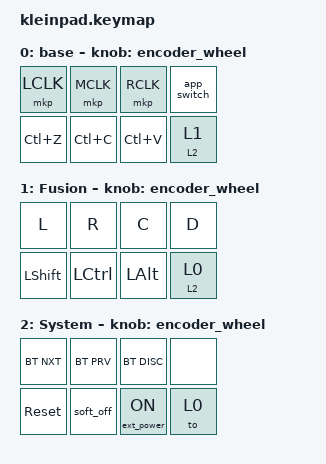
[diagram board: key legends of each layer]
#define ZMK_POINTING_DEFAULT_MOVE_VAL 1500  // default: 600
#define ZMK_POINTING_DEFAULT_SCRL_VAL 30    // default: 10

#include <dt-bindings/zmk/pointing.h>
#include <behaviors.dtsi>
#include <dt-bindings/zmk/keys.h>
#include <dt-bindings/zmk/ext_power.h>
#include <dt-bindings/zmk/mouse.h>
#include <dt-bindings/zmk/bt.h>

/ {
    behaviors {
        encoder_wheel: encoder_wheel {
            compatible = "zmk,behavior-sensor-rotate";
            #sensor-binding-cells = <0>;
            bindings = <&msc SCRL_DOWN>, <&msc SCRL_UP>;
            tap-ms = <100>;
        };

        app_switch: app_switch {
            compatible = "zmk,behavior-tri-state";
            #binding-cells = <0>;
            timeout-ms = <2000>;
            bindings = <&kt LALT>, <&kp TAB>, <&kt LALT>;
        };

        lth: layer_tap_hold {
            compatible = "zmk,behavior-hold-tap";
            #binding-cells = <2>;
            flavor = "tap-preferred";
            tapping-term-ms = <200>;
            bindings = <&mo>, <&to>;
            display-name = "Layer-Tap";
        };
    };


    keymap {
        compatible = "zmk,keymap";

        default_layer { // Layer 0
            display-name = "base";
            bindings = <
                &mkp LCLK    &mkp MCLK   &mkp RCLK   &app_switch
                &kp LC(Z)    &kp LC(C)   &kp LC(V)   &lth 2 1
            >;
            sensor-bindings = <&encoder_wheel>;
        };

        fusion_layer { // Layer 0
            display-name = "Fusion";
            bindings = <
                &kp L      &kp R       &kp C      &kp D
                &kp LSHFT  &kp LCTRL   &kp LALT   &lth 2 0
            >;
            sensor-bindings = <&encoder_wheel>;
        };

        system_layer { // Layer 0
            display-name = "System";
            bindings = <
                &bt BT_NXT    &bt BT_PRV   &bt BT_DISC       &none
                &sys_reset    &soft_off    &ext_power EP_ON  &to 0
            >;
            sensor-bindings = <&encoder_wheel>;
        };
    };
};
